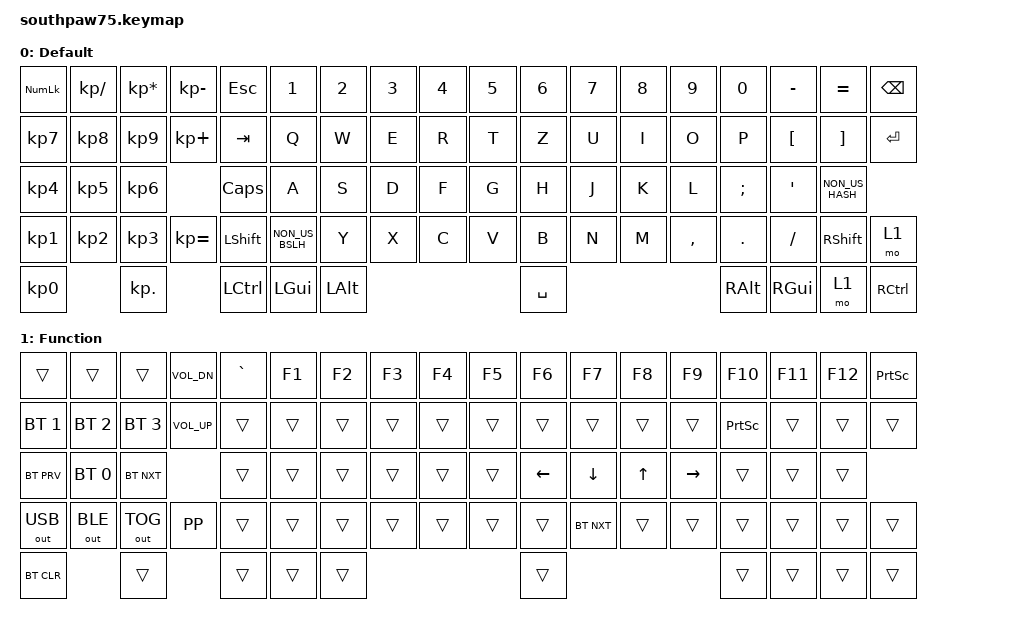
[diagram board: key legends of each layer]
#include <behaviors.dtsi>
#include <dt-bindings/zmk/keys.h>
#include <dt-bindings/zmk/bt.h>
#include <dt-bindings/zmk/outputs.h>

/ {
	keymap {
		compatible = "zmk,keymap";

		default_layer {
			label = "Default";
// ----------------------------------------------------------------------------------------------------------------------------------------------------------------------------------------------
// |  NLOCK  |    /    |    *    |    -    |   ESC   |    1    |    2    |    3    |    4    |    5    |    6    |    7    |    8    |    9    |    0    |    -    |    =    |      BKSPACE     |
// |    7    |    8    |    9    |    +    |   TAB      |    Q    |    W    |    E    |    R    |    T    |    Z    |    U    |    I    |    O    |    P    |    [    |    ]    |   ISO ENTER   |
// |    4    |    5    |    6    |         |   CAPSLOCK    |    A    |    S    |    D    |    F    |    G    |    H    |    J    |    K    |    L    |    ;    |    '    |    NUHS |			|
// |    1    |    2    |    3    | RETURN  |   SHIFT  |  NUBS  |    Y    |    X    |    C    |    V    |    B    |    N    |    M    |    ,    |    .    |    /    |      SHIFT       |   FN    |
// |         0         |    .    |         |   CTRL   |    WIN   |    ALT   |                              SPACE                             |    ALT    |    WIN     |    MO 1     |    CTRL   |
// ----------------------------------------------------------------------------------------------------------------------------------------------------------------------------------------------

			bindings = <
			&kp KP_NUM   &kp KP_SLASH    &kp KP_ASTERISK  &kp KP_MINUS	&kp ESC 	&kp N1    		&kp N2		&kp N3 	&kp N4	&kp N5 	&kp N6 	&kp N7	&kp N8 	&kp N9    	&kp N0    	&kp MINUS	&kp EQUAL    		&kp BSPC
			&kp KP_N7    &kp KP_N8       &kp KP_N9        &kp KP_PLUS   &kp TAB		&kp Q     		&kp W     	&kp E 	&kp R 	&kp T	&kp Z  	&kp U  	&kp I	&kp O     	&kp P      	&kp LBKT	&kp RBKT    		&kp RETURN
			&kp KP_N4    &kp KP_N5       &kp KP_N6                      &kp CLCK 	&kp A     		&kp S     	&kp D 	&kp F 	&kp G	&kp H  	&kp J 	&kp K	&kp L     	&kp SEMI	&kp APOS	&kp NON_US_HASH
			&kp KP_N1    &kp KP_N2       &kp KP_N3        &kp KP_EQUAL  &kp LSHFT  	&kp NON_US_BSLH	&kp Y		&kp X  	&kp C  	&kp V	&kp B  	&kp N	&kp M 	&kp COMMA	&kp DOT   	&kp FSLH   	&kp RSHFT			&mo 1
			&kp KP_N0                    &kp KP_DOT                     &kp LCTRL 	&kp LGUI  		&kp LALT							&kp SPACE 							&kp RALT  	&kp RGUI  	&mo 1  				&kp RCTRL
			>;
		};



		function_layer {
			label = "Function";
// ----------------------------------------------------------------------------------------------------------------------------------------------------------------------------------------------
// |         |         |         | K_VOL_DN|  GRAVE  |    F1   |    F2   |    F3   |    F4   |    F5   |    F6   |    F7   |    F8   |    F9   |   F10   |   F11   |   F12   |     PSCRN	    |
// |         |         |         | K_VOL_UP|            |         |         |         |         |         |         |         |         |         |  PSCRN  |         |         |               |
// |  BT_PRV | BT_SEL 0|  BT_NXT |         |                |         |         |         |         |         |  LEFT   |  DOWN   |   UP    |  LEFT   |         |         |          |        	|
// | OUT_USB | OUT_BLE | OUT_TOG |  K_PP   |            |       |         |         |         |         |         |         |         |         |         |         |              	|           |
// |       BT_CLR      |         |         |            |          |           |                                                              |           |           |           |             |
// ----------------------------------------------------------------------------------------------------------------------------------------------------------------------------------------------

			bindings = <
			&trans        	&trans     		&trans  		&kp K_VOL_DN   	&kp GRAVE  &kp F1    &kp F2    &kp F3     &kp F4    &kp F5 	&kp F6  	&kp F7  	&kp F8 	&kp F9  		&kp F10    	&kp F11	&kp F12	&kp PSCRN
			&bt BT_SEL 1  	&bt BT_SEL 2 	&bt BT_SEL 3  	&kp K_VOL_UP   	&trans     &trans    &trans    &trans     &trans    &trans 	&trans 		&trans  	&trans  	&trans    	&kp PSCRN	&trans 	&trans	&trans
			&bt BT_PRV 		&bt BT_SEL 0	&bt BT_NXT                  	&trans     &trans    &trans    &trans     &trans    &trans 	&kp LEFT	&kp DOWN 	&kp UP   	&kp RIGHT	&trans     	&trans	&trans
			&out OUT_USB	&out OUT_BLE	&out OUT_TOG	&kp K_PP       	&trans     &trans    &trans    &trans     &trans    &trans 	&trans   	&bt BT_NXT	&trans  	&trans    	&trans     	&trans	&trans	&trans
			&bt BT_CLR               		&trans                          &trans     &trans    &trans    								&trans     										&trans    	&trans 	&trans 	&trans
			>;
		};
	};
};
